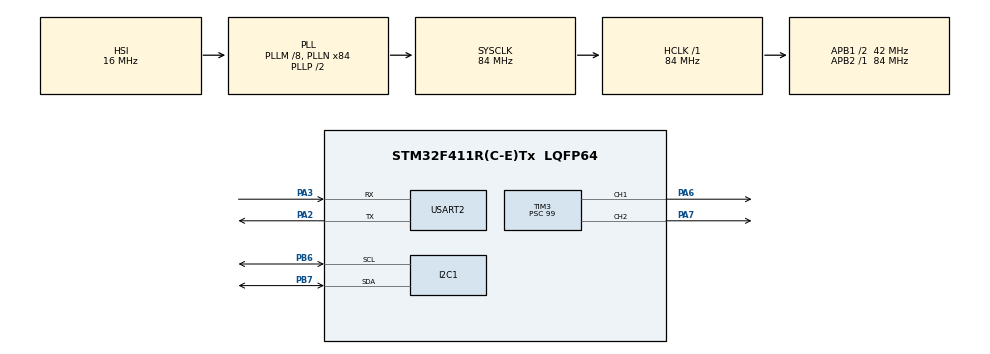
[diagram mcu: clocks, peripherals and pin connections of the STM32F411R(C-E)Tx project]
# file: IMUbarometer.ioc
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Mcu.Family=STM32F4
Mcu.Name=STM32F411R(C-E)Tx
Mcu.Package=LQFP64
NVIC.PriorityGroup=NVIC_PRIORITYGROUP_4
PA2.Mode=Asynchronous
PA2.Signal=USART2_TX
PA3.Mode=Asynchronous
PA3.Signal=USART2_RX
PA6.Signal=S_TIM3_CH1
PA7.Signal=S_TIM3_CH2
PB6.Mode=I2C
PB6.Signal=I2C1_SCL
PB7.Mode=I2C
PB7.Signal=I2C1_SDA
ProjectManager.HeapSize=0x200
ProjectManager.StackSize=0x400
ProjectManager.TargetToolchain=STM32CubeIDE
RCC.48MHZClocksFreq_Value=42000000
RCC.AHBFreq_Value=84000000
RCC.APB1CLKDivider=RCC_HCLK_DIV2
RCC.APB1Freq_Value=42000000
RCC.APB1TimFreq_Value=84000000
RCC.APB2Freq_Value=84000000
RCC.APB2TimFreq_Value=84000000
RCC.CortexFreq_Value=84000000
RCC.HCLKFreq_Value=84000000
RCC.HSE_VALUE=25000000
RCC.HSI_VALUE=16000000
RCC.LSE_VALUE=32768
RCC.PLLM=8
RCC.PLLN=84
RCC.SYSCLKFreq_VALUE=84000000
RCC.SYSCLKSource=RCC_SYSCLKSOURCE_PLLCLK
RCC.VCOOutputFreq_Value=168000000
SH.S_TIM3_CH1.0=TIM3_CH1,PWM Generation1 CH1
SH.S_TIM3_CH2.0=TIM3_CH2,PWM Generation2 CH2
TIM3.Channel-PWM\ Generation1\ CH1=TIM_CHANNEL_1
TIM3.Channel-PWM\ Generation2\ CH2=TIM_CHANNEL_2
TIM3.Period=19999
TIM3.Prescaler=99
TIM3.Pulse-PWM\ Generation2\ CH2=1500
USART2.VirtualMode=VM_ASYNC
VP_TIM3_VS_ClockSourceINT.Mode=Internal
board=custom

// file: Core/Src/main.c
/* USER CODE BEGIN Header */
/**
  ******************************************************************************
  * @file           : main.c
  * @brief          : Main program body
  ******************************************************************************
  * @attention
  *
  * Copyright (c) 2026 STMicroelectronics.
  * All rights reserved.
  *
  * This software is licensed under terms that can be found in the LICENSE file
  * in the root directory of this software component.
  * If no LICENSE file comes with this software, it is provided AS-IS.
  *
  ******************************************************************************
  */
/* USER CODE END Header */
#include "main.h"

/* USER CODE BEGIN Includes */
#include <stdio.h>
#include <math.h>
/* USER CODE END Includes */

/* USER CODE BEGIN PD */
#define MPU_ADDR 0xD0
#define MPU_REG_PWR 0x6B
#define BMP280_ADDR 0xEC
#define BMP280_REG_PWR 0xF4

/* USER CODE END PD */

I2C_HandleTypeDef hi2c1;

TIM_HandleTypeDef htim3;

UART_HandleTypeDef huart2;

/* USER CODE BEGIN PV */
//global declaration of BMP compensation constants
uint16_t dig_T1, dig_P1;
int16_t dig_T2, dig_T3;
int16_t  dig_P2, dig_P3, dig_P4, dig_P5, dig_P6, dig_P7, dig_P8, dig_P9;
int32_t t_fine;

/* USER CODE END PV */

void SystemClock_Config(void);
static void MX_GPIO_Init(void);
static void MX_I2C1_Init(void);
static void MX_USART2_UART_Init(void);
static void MX_TIM3_Init(void);
/* USER CODE BEGIN PFP */
//temperature compensation formula given on datasheet
int32_t BMP280_T_Compensation(int32_t adc_temp){

	int32_t var1, var2, T;
	    var1 = ((((adc_temp >> 3) - ((int32_t)dig_T1 << 1))) * ((int32_t)dig_T2)) >> 11;
	    var2 = (((((adc_temp >> 4) - ((int32_t)dig_T1)) *
	              ((adc_temp >> 4) - ((int32_t)dig_T1))) >> 12) *
	            ((int32_t)dig_T3)) >> 14;
	    t_fine = var1 + var2;
	    T = (t_fine * 5 + 128) >> 8;
	    return T;

}
//pressure compensation formula on datasheet
int32_t BMP280_P_Compensation(int32_t adc_P)
{
	int64_t var1, var2, p;
		var1 = ((int64_t)t_fine) - 128000;
		var2 = var1 * var1 * (int64_t)dig_P6;
		var2 = var2 + ((var1*(int64_t)dig_P5)<<17);
		var2 = var2 + (((int64_t)dig_P4)<<35);
		var1 = ((var1 * var1 * (int64_t)dig_P3)>>8) + ((var1 * (int64_t)dig_P2)<<12);
		var1 = (((((int64_t)1)<<47)+var1))*((int64_t)dig_P1)>>33;

			if (var1 == 0){
				return 0; // avoid exception caused by division by zero
}

		p = 1048576-adc_P;
		p = (((p<<31)-var2)*3125)/var1;
		var1 = (((int64_t)dig_P9) * (p>>13) * (p>>13)) >> 25;
		var2 = (((int64_t)dig_P8) * p) >> 19;
		p = ((p + var1 + var2) >> 8) + (((int64_t)dig_P7)<<4);

return (uint32_t)p;
}
/* USER CODE END PFP */

/* USER CODE BEGIN 0 */
int _write(int file, char *ptr, int len)
{
   HAL_UART_Transmit(&huart2, (uint8_t*)ptr, len, HAL_MAX_DELAY);
   return len;
}

void I2C_BusReset(void)
{
    GPIO_InitTypeDef GPIO_InitStruct = {0};
    __HAL_RCC_GPIOB_CLK_ENABLE();

    // Configure PB6 (SCL) and PB7 (SDA) as open-drain outputs, high
    GPIO_InitStruct.Pin = GPIO_PIN_6 | GPIO_PIN_7;
    GPIO_InitStruct.Mode = GPIO_MODE_OUTPUT_OD;
    GPIO_InitStruct.Pull = GPIO_PULLUP;
    GPIO_InitStruct.Speed = GPIO_SPEED_FREQ_LOW;
    HAL_GPIO_Init(GPIOB, &GPIO_InitStruct);

    HAL_GPIO_WritePin(GPIOB, GPIO_PIN_6 | GPIO_PIN_7, GPIO_PIN_SET);
    HAL_Delay(1);

    // Pulse SCL ~10 times to flush any stuck slave
    for (int i = 0; i < 10; i++) {
        HAL_GPIO_WritePin(GPIOB, GPIO_PIN_6, GPIO_PIN_RESET);
        HAL_Delay(1);
        HAL_GPIO_WritePin(GPIOB, GPIO_PIN_6, GPIO_PIN_SET);
        HAL_Delay(1);
    }

    // Generate a STOP condition: SDA low->high while SCL high
    HAL_GPIO_WritePin(GPIOB, GPIO_PIN_7, GPIO_PIN_RESET);
    HAL_Delay(1);
    HAL_GPIO_WritePin(GPIOB, GPIO_PIN_6, GPIO_PIN_SET);
    HAL_Delay(1);
    HAL_GPIO_WritePin(GPIOB, GPIO_PIN_7, GPIO_PIN_SET);
    HAL_Delay(1);
}

#define SERVO_MID_US   1500
#define SERVO_MIN_US   1000
#define SERVO_MAX_US   2000

typedef struct {
    float kp, ki, kd;
    float integral;
    float prev_meas;
    float i_limit;      // anti-windup clamp
    float out_limit;
} PID_t;

static PID_t pid_roll  = {.kp=3.3f, .ki=1.1f, .kd=0.5f, .i_limit=100.0f, .out_limit=350.0f};
static PID_t pid_pitch = {.kp=4.1f, .ki=0.8f, .kd=0.3f, .i_limit=100.0f, .out_limit=350.0f};

static float PID_Update(PID_t *p, float setpoint, float meas, float dt)
{
    float error = setpoint - meas;

    p->integral += error * dt;
    if (p->integral >  p->i_limit) p->integral =  p->i_limit;
    if (p->integral < -p->i_limit) p->integral = -p->i_limit;

    // derivative on measurement, not error — avoids kicks when setpoint changes
    float deriv = (meas - p->prev_meas) / dt;
    p->prev_meas = meas;

    float out = p->kp * error + p->ki * p->integral - p->kd * deriv;

    if (out >  p->out_limit) {
    	out =  p->out_limit;
    }
    if (out < -p->out_limit) {
    	out = -p->out_limit;
    }
    return out;
}

static void Servo_Write(TIM_HandleTypeDef *htim, uint32_t channel, float pulse_us)
{
    if (pulse_us < SERVO_MIN_US) {
    	pulse_us = SERVO_MIN_US;
    }
    if (pulse_us > SERVO_MAX_US) {
    	pulse_us = SERVO_MAX_US;
    }
    __HAL_TIM_SET_COMPARE(htim, channel, (uint32_t)pulse_us);
}
/* USER CODE END 0 */

int main(void)
{

  /* MCU Configuration--------------------------------------------------------*/

  /* Reset of all peripherals, Initializes the Flash interface and the Systick. */
  HAL_Init();

  /* Configure the system clock */
  SystemClock_Config();

  /* Initialize all configured peripherals */
  MX_GPIO_Init();
  MX_I2C1_Init();
  MX_USART2_UART_Init();
  MX_TIM3_Init();
  /* USER CODE BEGIN 2 */

  // used this for debugging it returns the address of the modules
    printf("Scanning I2C...\r\n");

    for(uint16_t addr = 1; addr < 128; addr++)
    {
        if(HAL_I2C_IsDeviceReady(&hi2c1, addr << 1, 1, 10) == HAL_OK)
        {
            printf("Found device at 0x%02X\r\n", addr);
        }
    }

  uint8_t who = 0;
    HAL_StatusTypeDef status;
    status = HAL_I2C_Mem_Read(&hi2c1, MPU_ADDR,0x75,I2C_MEMADD_SIZE_8BIT, &who, 1, 100);
    if(status == HAL_OK && who == 0x70){
  	 printf("MPU INITIALIZED SUCCESSFULLY\r\n");
   } else {
  	 printf("MPU FAIL status = %d ID=0x%02X err=0x%08lX\r\n", status, who, HAL_I2C_GetError(&hi2c1));
   }
    status = HAL_I2C_Mem_Read(&hi2c1, BMP280_ADDR, 0xD0, I2C_MEMADD_SIZE_8BIT, &who, 1, 100);
    if (status == HAL_OK && who == 0x58) {
        printf("BMP280 INITIALIZED SUCCESSFULLY\r\n");
    } else {
        printf("BMP280 FAIL: status=%d ID=0x%02X err=0x%08lX\r\n",
               status, who, HAL_I2C_GetError(&hi2c1));
    }
  uint8_t val = 0x00;
  HAL_I2C_Mem_Write(&hi2c1, MPU_ADDR, MPU_REG_PWR, I2C_MEMADD_SIZE_8BIT, &val, 1, 100);
  uint8_t check = 0xFF;
  HAL_I2C_Mem_Read(&hi2c1, MPU_ADDR, 0x6B, I2C_MEMADD_SIZE_8BIT, &check, 1, 100);
  printf("PWR_MGMT_1 after wake = 0x%02X\r\n", check);
  val = 0x27;
  HAL_I2C_Mem_Write(&hi2c1, BMP280_ADDR, BMP280_REG_PWR, I2C_MEMADD_SIZE_8BIT, &val, 1, 100);
  HAL_TIM_PWM_Start(&htim3, TIM_CHANNEL_1);
    HAL_TIM_PWM_Start(&htim3, TIM_CHANNEL_2);
  /* USER CODE END 2 */

  /* Infinite loop */
  /* USER CODE BEGIN WHILE */
  uint32_t last = HAL_GetTick();
  float filteredpitch = 0.0f;
  float filteredroll = 0.0f;
  //reading BMP280 pressure and temperature compensation formula constants
  uint8_t calib[24];
  HAL_I2C_Mem_Read(&hi2c1, BMP280_ADDR, 0x88, I2C_MEMADD_SIZE_8BIT, calib, 24, 100);
   dig_T1 = (uint16_t)((calib[1] << 8) | calib[0]);   // 0x88/0x89, unsigned
   dig_T2 = (int16_t) ((calib[3] << 8) | calib[2]);   // 0x8A/0x8B, signed
   dig_T3 = (int16_t) ((calib[5] << 8) | calib[4]);   // 0x8C/0x8D, signed
   dig_P1 = (uint16_t)((calib[7] << 8) | calib[6]);   // 0x8E/8F  unsigned
   dig_P2 = (int16_t) ((calib[9] << 8) | calib[8]);   // 0x90/91  signed
   dig_P3 = (int16_t) ((calib[11] << 8) | calib[10]); // 0x92/93  signed
   dig_P4 = (int16_t) ((calib[13] << 8) | calib[12]); // 0x94/95  signed
   dig_P5 = (int16_t) ((calib[15] << 8) | calib[14]); // 0x96/97  signed
   dig_P6 = (int16_t) ((calib[17] << 8) | calib[16]); // 0x98/99  signed
   dig_P7 = (int16_t) ((calib[19] << 8) | calib[18]); // 0x9A/9B  signed
   dig_P8 = (int16_t) ((calib[21] << 8) | calib[20]); // 0x9C/9D  signed
   dig_P9 = (int16_t) ((calib[23] << 8) | calib[22]); // 0x9E/9F  signed
  while (1)
  {
    /* USER CODE END WHILE */

    /* USER CODE BEGIN 3 */

	  uint8_t buf[14];
	 	  	  HAL_I2C_Mem_Read(&hi2c1, MPU_ADDR, 0x3B, I2C_MEMADD_SIZE_8BIT, buf, 14, 100);
	 	  	  //reading bytes from register and combining the high and low values
	 	  	  int16_t ax = (int16_t)(buf[0] << 8 | buf[1]);
	 	  	  int16_t ay = (int16_t)(buf[2] << 8 | buf[3]);
	 	  	  int16_t az = (int16_t)(buf[4] << 8 | buf[5]);
	 	  	  int16_t gx = (int16_t)(buf[8]  << 8 | buf[9]);
	 	  	  int16_t gy = (int16_t)(buf[10] << 8 | buf[11]);
	 	  	  int16_t gz = (int16_t)(buf[12] << 8 | buf[13]);
	 	  	  //using 3d trig formula to find roll and pitch
	 	  	  float pitch = atan2f(ax, sqrtf(ay*ay + az*az))*(180.0 / 3.14159);
	 	  	  float roll = atan2f(ay, sqrtf(ax*ax + az*az))*(180.0 / 3.14159);

	 	  	  uint32_t now = HAL_GetTick();
	 	  	  float dt = (now - last) / 1000.0f;
	 	  	//131 defined in MPU6050 datasheet to convert raw data
	 	  	  float gyroRateX = gx / 131.0;
	 	  	  float gyroRateY = gy / 131.0;

	 	  	  //filter that is a high pass filter for the gyroscope and low pass for accelerometer to reduce noise
	 	  	  filteredpitch = 0.96*(filteredpitch + (gyroRateY*dt)) + 0.04*pitch;
	 	      filteredroll = 0.96*(filteredroll + (gyroRateX*dt)) + 0.04*roll;

	 	      printf("PITCH = %.2f\r\n", filteredpitch);
	 	      printf("ROLL = %.2f\r\n", filteredroll);

	 	  	uint8_t pbuf[6];
	 	  	HAL_I2C_Mem_Read(&hi2c1, BMP280_ADDR, 0xF7, I2C_MEMADD_SIZE_8BIT, pbuf, 6, 100);
	 	  	// reading bytes from the BMP280 register and combining
	 	  	int32_t raw_press = (int32_t)(((uint32_t)pbuf[0] << 12) | ((uint32_t)pbuf[1] << 4) | ((uint32_t)pbuf[2] >> 4));
	 	  	int32_t raw_temp  = (int32_t)(((uint32_t)pbuf[3] << 12) | ((uint32_t)pbuf[4] << 4) | ((uint32_t)pbuf[5] >> 4));

	 	  	//temperature compensation provided on datasheet
	 	  	int32_t T = BMP280_T_Compensation(raw_temp);
	 	  	int32_t P = BMP280_P_Compensation(raw_press);

	 	  	printf("Temp = %ld.%02ld C  Press = %lu.%02lu hPa\r\n",
	 	  	       T/100, T%100, (P/256)/100, ((P/256)%100));

	 	  	float pressure_hPa = (P / 256.0f) / 100.0f;
	 	  	float altitude = 44330.0f * (1.0f - powf(pressure_hPa / 1013.25f, 0.1903f));
	 	  	printf("Altitude = %.2f m\r\n", altitude);

	 	  	HAL_Delay(100);
	 	  	// inside the loop, every dt seconds:
	 	  	float roll_out  = PID_Update(&pid_roll,  0.0f, filteredroll,  dt);   // 0 = wings level
	 	  	float pitch_out = PID_Update(&pid_pitch, 0.0f, filteredpitch, dt);

	 	  	Servo_Write(&htim3, TIM_CHANNEL_1, SERVO_MID_US + pitch_out + roll_out);
	 	  	Servo_Write(&htim3, TIM_CHANNEL_2, SERVO_MID_US + pitch_out - roll_out);

	 	  	last = now;

  /* USER CODE END 3 */
}
}
void SystemClock_Config(void)
{
  RCC_OscInitTypeDef RCC_OscInitStruct = {0};
  RCC_ClkInitTypeDef RCC_ClkInitStruct = {0};

  /** Configure the main internal regulator output voltage
  */
  __HAL_RCC_PWR_CLK_ENABLE();
  __HAL_PWR_VOLTAGESCALING_CONFIG(PWR_REGULATOR_VOLTAGE_SCALE1);

  /** Initializes the RCC Oscillators according to the specified parameters
  * in the RCC_OscInitTypeDef structure.
  */
  RCC_OscInitStruct.OscillatorType = RCC_OSCILLATORTYPE_HSI;
  RCC_OscInitStruct.HSIState = RCC_HSI_ON;
  RCC_OscInitStruct.HSICalibrationValue = RCC_HSICALIBRATION_DEFAULT;
  RCC_OscInitStruct.PLL.PLLState = RCC_PLL_ON;
  RCC_OscInitStruct.PLL.PLLSource = RCC_PLLSOURCE_HSI;
  RCC_OscInitStruct.PLL.PLLM = 8;
  RCC_OscInitStruct.PLL.PLLN = 84;
  RCC_OscInitStruct.PLL.PLLP = RCC_PLLP_DIV2;
  RCC_OscInitStruct.PLL.PLLQ = 4;
  if (HAL_RCC_OscConfig(&RCC_OscInitStruct) != HAL_OK)
  {
    Error_Handler();
  }

  /** Initializes the CPU, AHB and APB buses clocks
  */
  RCC_ClkInitStruct.ClockType = RCC_CLOCKTYPE_HCLK|RCC_CLOCKTYPE_SYSCLK
                              |RCC_CLOCKTYPE_PCLK1|RCC_CLOCKTYPE_PCLK2;
  RCC_ClkInitStruct.SYSCLKSource = RCC_SYSCLKSOURCE_PLLCLK;
  RCC_ClkInitStruct.AHBCLKDivider = RCC_SYSCLK_DIV1;
  RCC_ClkInitStruct.APB1CLKDivider = RCC_HCLK_DIV2;
  RCC_ClkInitStruct.APB2CLKDivider = RCC_HCLK_DIV1;

  if (HAL_RCC_ClockConfig(&RCC_ClkInitStruct, FLASH_LATENCY_2) != HAL_OK)
  {
    Error_Handler();
  }
}

static void MX_I2C1_Init(void)
{

  hi2c1.Instance = I2C1;
  hi2c1.Init.ClockSpeed = 100000;
  hi2c1.Init.DutyCycle = I2C_DUTYCYCLE_2;
  hi2c1.Init.OwnAddress1 = 0;
  hi2c1.Init.AddressingMode = I2C_ADDRESSINGMODE_7BIT;
  hi2c1.Init.DualAddressMode = I2C_DUALADDRESS_DISABLE;
  hi2c1.Init.OwnAddress2 = 0;
  hi2c1.Init.GeneralCallMode = I2C_GENERALCALL_DISABLE;
  hi2c1.Init.NoStretchMode = I2C_NOSTRETCH_DISABLE;
  if (HAL_I2C_Init(&hi2c1) != HAL_OK)
  {
    Error_Handler();
  }

}

static void MX_TIM3_Init(void)
{

  TIM_ClockConfigTypeDef sClockSourceConfig = {0};
  TIM_MasterConfigTypeDef sMasterConfig = {0};
  TIM_OC_InitTypeDef sConfigOC = {0};

  htim3.Instance = TIM3;
  htim3.Init.Prescaler = 99;
  htim3.Init.CounterMode = TIM_COUNTERMODE_UP;
  htim3.Init.Period = 19999;
  htim3.Init.ClockDivision = TIM_CLOCKDIVISION_DIV1;
  htim3.Init.AutoReloadPreload = TIM_AUTORELOAD_PRELOAD_DISABLE;
  if (HAL_TIM_Base_Init(&htim3) != HAL_OK)
  {
    Error_Handler();
  }
  sClockSourceConfig.ClockSource = TIM_CLOCKSOURCE_INTERNAL;
  if (HAL_TIM_ConfigClockSource(&htim3, &sClockSourceConfig) != HAL_OK)
  {
    Error_Handler();
  }
  if (HAL_TIM_PWM_Init(&htim3) != HAL_OK)
  {
    Error_Handler();
  }
  sMasterConfig.MasterOutputTrigger = TIM_TRGO_RESET;
  sMasterConfig.MasterSlaveMode = TIM_MASTERSLAVEMODE_DISABLE;
  if (HAL_TIMEx_MasterConfigSynchronization(&htim3, &sMasterConfig) != HAL_OK)
  {
    Error_Handler();
  }
  sConfigOC.OCMode = TIM_OCMODE_PWM1;
  sConfigOC.Pulse = 0;
  sConfigOC.OCPolarity = TIM_OCPOLARITY_HIGH;
  sConfigOC.OCFastMode = TIM_OCFAST_DISABLE;
  if (HAL_TIM_PWM_ConfigChannel(&htim3, &sConfigOC, TIM_CHANNEL_1) != HAL_OK)
  {
    Error_Handler();
  }
  sConfigOC.Pulse = 1500;
  if (HAL_TIM_PWM_ConfigChannel(&htim3, &sConfigOC, TIM_CHANNEL_2) != HAL_OK)
  {
    Error_Handler();
  }
  HAL_TIM_MspPostInit(&htim3);

}

static void MX_USART2_UART_Init(void)
{

  huart2.Instance = USART2;
  huart2.Init.BaudRate = 115200;
  huart2.Init.WordLength = UART_WORDLENGTH_8B;
  huart2.Init.StopBits = UART_STOPBITS_1;
  huart2.Init.Parity = UART_PARITY_NONE;
  huart2.Init.Mode = UART_MODE_TX_RX;
  huart2.Init.HwFlowCtl = UART_HWCONTROL_NONE;
  huart2.Init.OverSampling = UART_OVERSAMPLING_16;
  if (HAL_UART_Init(&huart2) != HAL_OK)
  {
    Error_Handler();
  }

}

static void MX_GPIO_Init(void)
{

  /* GPIO Ports Clock Enable */
  __HAL_RCC_GPIOA_CLK_ENABLE();
  __HAL_RCC_GPIOB_CLK_ENABLE();

}

void Error_Handler(void)
{
  __disable_irq();
  while (1)
  {
  }
}
